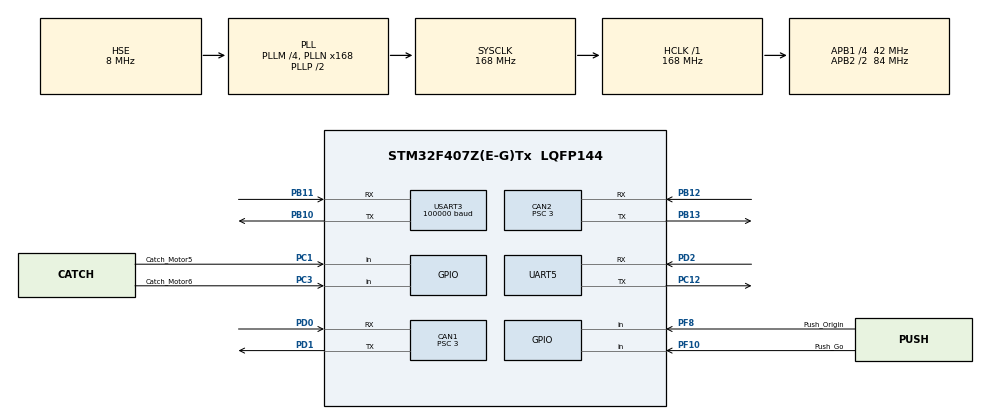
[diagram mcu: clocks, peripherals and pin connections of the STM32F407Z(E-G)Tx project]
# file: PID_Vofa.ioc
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CAN1.BS1=CAN_BS1_10TQ
CAN1.BS2=CAN_BS2_3TQ
CAN1.CalculateBaudRate=1000000
CAN1.CalculateTimeBit=1000
CAN1.CalculateTimeQuantum=71.42857142857143
CAN1.Prescaler=3
CAN2.BS1=CAN_BS1_10TQ
CAN2.BS2=CAN_BS2_3TQ
CAN2.CalculateBaudRate=1000000
CAN2.CalculateTimeBit=1000
CAN2.CalculateTimeQuantum=71.42857142857143
CAN2.Prescaler=3
Dma.Request0=USART3_RX
Dma.USART3_RX.0.Direction=DMA_PERIPH_TO_MEMORY
Dma.USART3_RX.0.FIFOMode=DMA_FIFOMODE_DISABLE
Dma.USART3_RX.0.Instance=DMA1_Stream1
Dma.USART3_RX.0.MemDataAlignment=DMA_MDATAALIGN_BYTE
Dma.USART3_RX.0.MemInc=DMA_MINC_ENABLE
Dma.USART3_RX.0.Mode=DMA_NORMAL
Dma.USART3_RX.0.PeriphDataAlignment=DMA_PDATAALIGN_BYTE
Dma.USART3_RX.0.PeriphInc=DMA_PINC_DISABLE
Dma.USART3_RX.0.Priority=DMA_PRIORITY_VERY_HIGH
Mcu.Family=STM32F4
Mcu.Name=STM32F407Z(E-G)Tx
Mcu.Package=LQFP144
NVIC.CAN1_RX0_IRQn=true\:0\:1\:false\:false\:true\:true\:true\:true
NVIC.CAN2_RX0_IRQn=true\:0\:1\:false\:false\:true\:true\:true\:true
NVIC.DMA1_Stream1_IRQn=true\:0\:1\:false\:false\:true\:false\:true\:true
NVIC.PriorityGroup=NVIC_PRIORITYGROUP_2
NVIC.TIM6_DAC_IRQn=true\:0\:1\:false\:false\:true\:true\:true\:true
NVIC.USART3_IRQn=true\:0\:1\:false\:false\:true\:true\:true\:true
PA13.Mode=Serial_Wire
PA13.Signal=SYS_JTMS-SWDIO
PA14.Mode=Serial_Wire
PA14.Signal=SYS_JTCK-SWCLK
PB10.Mode=Asynchronous
PB10.Signal=USART3_TX
PB11.Mode=Asynchronous
PB11.Signal=USART3_RX
PB12.Mode=CAN_Activate
PB12.Signal=CAN2_RX
PB13.Mode=CAN_Activate
PB13.Signal=CAN2_TX
PC1.GPIO_Label=Catch_Motor5
PC1.GPIO_PuPd=GPIO_PULLUP
PC1.Signal=GPIO_Input
PC12.Mode=Asynchronous
PC12.Signal=UART5_TX
PC3.GPIO_Label=Catch_Motor6
PC3.GPIO_PuPd=GPIO_PULLUP
PC3.Signal=GPIO_Input
PD0.Mode=CAN_Activate
PD0.Signal=CAN1_RX
PD1.Mode=CAN_Activate
PD1.Signal=CAN1_TX
PD2.Mode=Asynchronous
PD2.Signal=UART5_RX
PF10.GPIO_Label=Push_Go
PF10.GPIO_PuPd=GPIO_PULLUP
PF10.Signal=GPIO_Input
PF8.GPIO_Label=Push_Origin
PF8.GPIO_PuPd=GPIO_PULLUP
PF8.Signal=GPIO_Input
PH0-OSC_IN.Mode=HSE-External-Oscillator
PH0-OSC_IN.Signal=RCC_OSC_IN
PH1-OSC_OUT.Mode=HSE-External-Oscillator
PH1-OSC_OUT.Signal=RCC_OSC_OUT
ProjectManager.HeapSize=0x200
ProjectManager.StackSize=0x400
ProjectManager.TargetToolchain=MDK-ARM V5.32
RCC.48MHZClocksFreq_Value=84000000
RCC.AHBFreq_Value=168000000
RCC.APB1CLKDivider=RCC_HCLK_DIV4
RCC.APB1Freq_Value=42000000
RCC.APB1TimFreq_Value=84000000
RCC.APB2CLKDivider=RCC_HCLK_DIV2
RCC.APB2Freq_Value=84000000
RCC.APB2TimFreq_Value=168000000
RCC.CortexFreq_Value=168000000
RCC.HCLKFreq_Value=168000000
RCC.HSE_VALUE=8000000
RCC.HSI_VALUE=16000000
RCC.LSE_VALUE=32768
RCC.PLLM=4
RCC.PLLN=168
RCC.PLLSourceVirtual=RCC_PLLSOURCE_HSE
RCC.SYSCLKFreq_VALUE=168000000
RCC.SYSCLKSource=RCC_SYSCLKSOURCE_PLLCLK
RCC.VCOOutputFreq_Value=336000000
TIM6.Period=2000-1
TIM6.Prescaler=84-1
UART5.VirtualMode=Asynchronous
USART3.BaudRate=100000
USART3.Mode=MODE_RX
USART3.Parity=PARITY_EVEN
USART3.VirtualMode=VM_ASYNC
VP_TIM6_VS_ClockSourceINT.Mode=Enable_Timer
board=custom

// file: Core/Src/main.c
/* USER CODE BEGIN Header */
/**
  ******************************************************************************
  * @file           : main.c
  * @brief          : Main program body
  ******************************************************************************
  * @attention
  *
  * Copyright (c) 2023 STMicroelectronics.
  * All rights reserved.
  *
  * This software is licensed under terms that can be found in the LICENSE file
  * in the root directory of this software component.
  * If no LICENSE file comes with this software, it is provided AS-IS.
  *
  ******************************************************************************
  */
/* USER CODE END Header */
#include "main.h"
#include "can.h"
#include "dma.h"
#include "tim.h"
#include "usart.h"
#include "gpio.h"

/* USER CODE BEGIN Includes */
#include "vofaplus.h"
/* USER CODE END Includes */

void SystemClock_Config(void);

/* USER CODE BEGIN 0 */
fp32 Position_Motor_Target[3];
fp32 Speed_Motor_Target[3];
fp32 Current_Motor_Target[3];
extern RC_ctrl_t rc_ctrl;
extern motor_measure_t motor_can1[8];
extern motor_measure_t motor_can2[8];
/* USER CODE END 0 */

int main(void)
{

  /* MCU Configuration--------------------------------------------------------*/

  /* Reset of all peripherals, Initializes the Flash interface and the Systick. */
  HAL_Init();

  /* Configure the system clock */
  SystemClock_Config();

  /* Initialize all configured peripherals */
  MX_GPIO_Init();
  MX_DMA_Init();
  MX_CAN1_Init();
  MX_CAN2_Init();
  MX_USART3_UART_Init();
  MX_UART5_Init();
  MX_TIM6_Init();
  /* USER CODE BEGIN 2 */
//初始化遥控器
	remote_control_init();

//初始化PID
	PID_devices_Init();

//初始化CAN滤波器
	CAN1_Filter_Init();
	CAN2_Filter_Init();

//开启CAN通信
	CAN_Start(&hcan1);
	CAN_Start(&hcan2);

//如果不使能定时器中断则
//HAL_TIM_Base_Start(&htim1);
//如果使能定时器中断则
//	HAL_TIM_Base_Start_IT(&htim6);
  /* USER CODE END 2 */

  /* Infinite loop */
  while (1)
  {

    /* USER CODE BEGIN 3 */
		test1();
		printf("%f,%f,%f,%d,%d,%d\r\n",Speed_Motor_Target[0],Speed_Motor_Target[1],Speed_Motor_Target[2],motor_can2[4].speed_rpm,motor_can2[5].speed_rpm,motor_can2[6].speed_rpm);
		HAL_Delay(1);
  }
  /* USER CODE END 3 */
}

void SystemClock_Config(void)
{
  RCC_OscInitTypeDef RCC_OscInitStruct = {0};
  RCC_ClkInitTypeDef RCC_ClkInitStruct = {0};

  /** Configure the main internal regulator output voltage
  */
  __HAL_RCC_PWR_CLK_ENABLE();
  __HAL_PWR_VOLTAGESCALING_CONFIG(PWR_REGULATOR_VOLTAGE_SCALE1);

  /** Initializes the RCC Oscillators according to the specified parameters
  * in the RCC_OscInitTypeDef structure.
  */
  RCC_OscInitStruct.OscillatorType = RCC_OSCILLATORTYPE_HSE;
  RCC_OscInitStruct.HSEState = RCC_HSE_ON;
  RCC_OscInitStruct.PLL.PLLState = RCC_PLL_ON;
  RCC_OscInitStruct.PLL.PLLSource = RCC_PLLSOURCE_HSE;
  RCC_OscInitStruct.PLL.PLLM = 4;
  RCC_OscInitStruct.PLL.PLLN = 168;
  RCC_OscInitStruct.PLL.PLLP = RCC_PLLP_DIV2;
  RCC_OscInitStruct.PLL.PLLQ = 4;
  if (HAL_RCC_OscConfig(&RCC_OscInitStruct) != HAL_OK)
  {
    Error_Handler();
  }

  /** Initializes the CPU, AHB and APB buses clocks
  */
  RCC_ClkInitStruct.ClockType = RCC_CLOCKTYPE_HCLK|RCC_CLOCKTYPE_SYSCLK
                              |RCC_CLOCKTYPE_PCLK1|RCC_CLOCKTYPE_PCLK2;
  RCC_ClkInitStruct.SYSCLKSource = RCC_SYSCLKSOURCE_PLLCLK;
  RCC_ClkInitStruct.AHBCLKDivider = RCC_SYSCLK_DIV1;
  RCC_ClkInitStruct.APB1CLKDivider = RCC_HCLK_DIV4;
  RCC_ClkInitStruct.APB2CLKDivider = RCC_HCLK_DIV2;

  if (HAL_RCC_ClockConfig(&RCC_ClkInitStruct, FLASH_LATENCY_5) != HAL_OK)
  {
    Error_Handler();
  }
}

void Error_Handler(void)
{
  __disable_irq();
  while (1)
  {
  }
}
